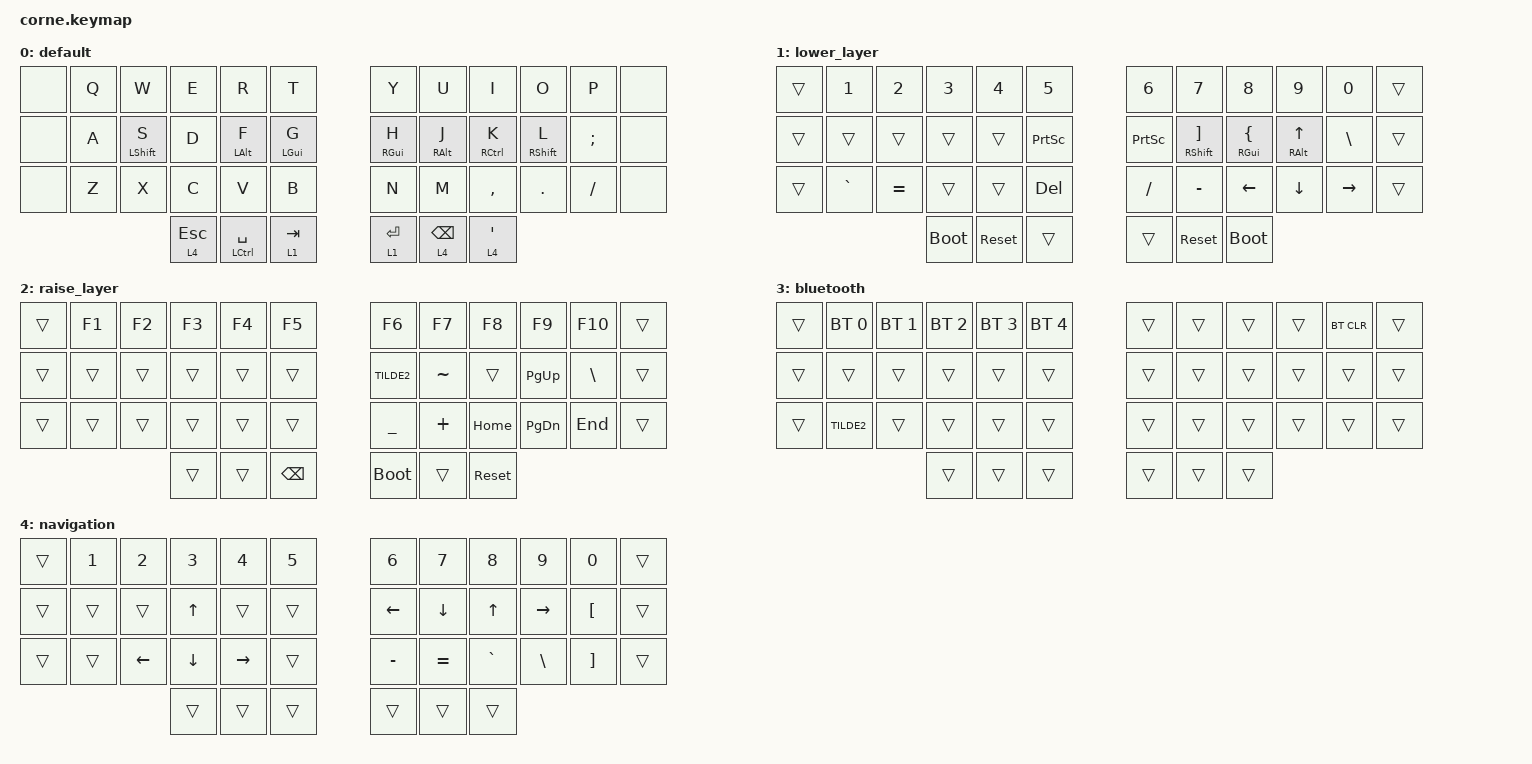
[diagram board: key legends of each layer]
/*
 * Copyright (c) 2020 The ZMK Contributors
 *
 * SPDX-License-Identifier: MIT
 */

#include <behaviors.dtsi>
#include <dt-bindings/zmk/bt.h>
#include <dt-bindings/zmk/keys.h>

/ {
    combos {
        compatible = "zmk,combos";

        bluetooth {
            bindings = <&mo 3>;
            key-positions = <36 41>;
        };
    };

    behaviors {
        hml: hml {
            compatible = "zmk,behavior-hold-tap";
            label = "HOME_ROW_LEFT";
            bindings = <&kp>, <&kp>;

            #binding-cells = <2>;
            tapping-term-ms = <180>;
            quick-tap-ms = <175>;
            require-prior-idle-ms = <150>;
            flavor = "balanced";
            hold-trigger-key-positions = <6 7 8 9 10 11 18 19 20 21 22 23 30 31 32 33 34 35>;
            hold-trigger-on-release;
        };

        hmr: hmr {
            compatible = "zmk,behavior-hold-tap";
            label = "HOME_ROW_RIGHT";
            bindings = <&kp>, <&kp>;

            #binding-cells = <2>;
            tapping-term-ms = <180>;
            quick-tap-ms = <175>;
            require-prior-idle-ms = <150>;
            flavor = "balanced";
            hold-trigger-key-positions = <0 1 2 3 4 5 12 13 14 15 16 17 24 25 26 27 28 29>;
            hold-trigger-on-release;
        };
    };

    keymap {
        compatible = "zmk,keymap";

        default {
            bindings = <
&none  &kp Q  &kp W              &kp E      &kp R                   &kp T              &kp Y             &kp U             &kp I                 &kp O               &kp P      &none
&none  &kp A  &hml LEFT_SHIFT S  &kp D      &hml LEFT_ALT F         &hml LEFT_GUI G    &hmr RIGHT_GUI H  &hmr RIGHT_ALT J  &hmr RIGHT_CONTROL K  &hmr RIGHT_SHIFT L  &kp SEMI   &none
&none  &kp Z  &kp X              &kp C      &kp V                   &kp B              &kp N             &kp M             &kp COMMA             &kp DOT             &kp SLASH  &none
                                 &lt 4 ESC  &mt LEFT_CONTROL SPACE  &lt 1 TAB          &lt 1 ENTER       &lt 4 BACKSPACE   &lt 4 SQT
            >;
        };

        lower_layer {
            bindings = <
&trans  &kp N1     &kp N2     &kp N3       &kp N4      &kp N5             &kp N6           &kp N7                          &kp N8                     &kp N9                   &kp N0     &trans
&trans  &trans     &trans     &trans       &trans      &kp PRINTSCREEN    &kp PRINTSCREEN  &hml RIGHT_SHIFT RIGHT_BRACKET  &hmr RIGHT_GUI LEFT_BRACE  &hmr RIGHT_ALT UP_ARROW  &kp BSLH   &trans
&trans  &kp GRAVE  &kp EQUAL  &trans       &trans      &kp DELETE         &kp SLASH        &kp MINUS                       &kp LEFT_ARROW             &kp DOWN_ARROW           &kp RIGHT  &trans
                              &bootloader  &sys_reset  &trans             &trans           &sys_reset                      &bootloader
            >;
        };

        raise_layer {
            bindings = <
&trans  &kp F1  &kp F2  &kp F3  &kp F4  &kp F5           &kp F6       &kp F7     &kp F8      &kp F9         &kp F10   &trans
&trans  &trans  &trans  &trans  &trans  &trans           &kp TILDE2   &kp TILDE  &trans      &kp PG_UP      &kp BSLH  &trans
&trans  &trans  &trans  &trans  &trans  &trans           &kp UNDER    &kp PLUS   &kp HOME    &kp PAGE_DOWN  &kp END   &trans
                        &trans  &trans  &kp BACKSPACE    &bootloader  &trans     &sys_reset
            >;
        };

        bluetooth {
            bindings = <
&trans  &bt BT_SEL 0  &bt BT_SEL 1  &bt BT_SEL 2  &bt BT_SEL 3  &bt BT_SEL 4    &trans  &trans  &trans  &trans  &bt BT_CLR  &trans
&trans  &trans        &trans        &trans        &trans        &trans          &trans  &trans  &trans  &trans  &trans      &trans
&trans  &kp TILDE2    &trans        &trans        &trans        &trans          &trans  &trans  &trans  &trans  &trans      &trans
                                    &trans        &trans        &trans          &trans  &trans  &trans
            >;
        };

        navigation {
            bindings = <
&trans  &kp N1  &kp N2          &kp N3          &kp N4     &kp N5    &kp N6     &kp N7     &kp N8     &kp N9         &kp N0             &trans
&trans  &trans  &trans          &kp UP_ARROW    &trans     &trans    &kp LEFT   &kp DOWN   &kp UP     &kp RIGHT      &kp LEFT_BRACKET   &trans
&trans  &trans  &kp LEFT_ARROW  &kp DOWN_ARROW  &kp RIGHT  &trans    &kp MINUS  &kp EQUAL  &kp GRAVE  &kp BACKSLASH  &kp RIGHT_BRACKET  &trans
                                &trans          &trans     &trans    &trans     &trans     &trans
            >;
        };
    };
};
